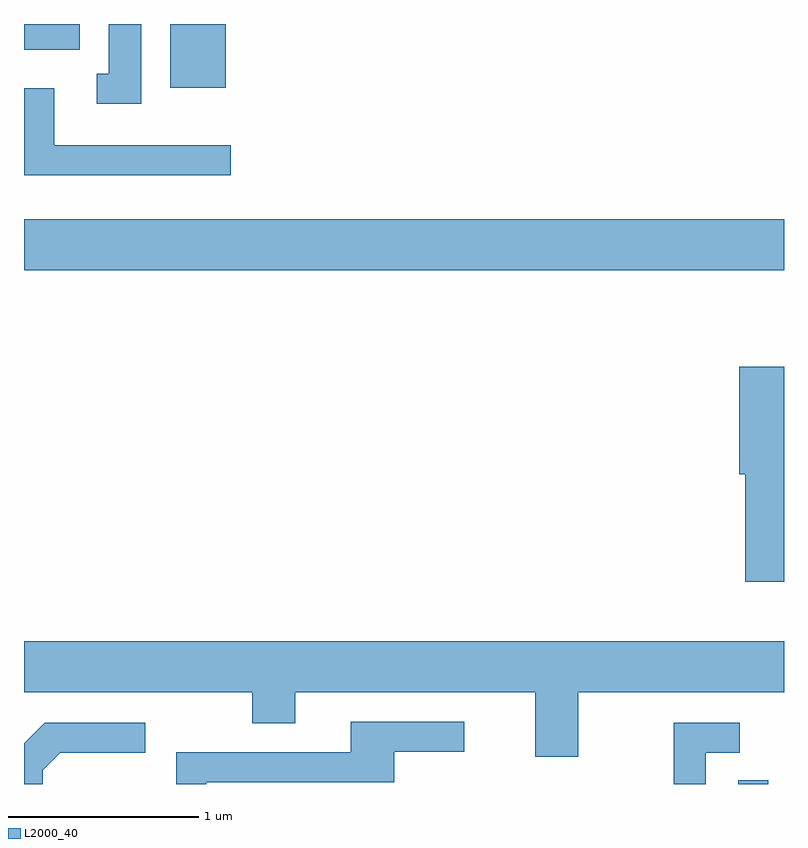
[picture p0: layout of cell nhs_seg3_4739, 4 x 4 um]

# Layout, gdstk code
import gdstk
lib = gdstk.Library(unit=1e-6, precision=1e-09)
def R(c, l, rs):  # rectangles x0, y0, x1, y1
    for r in rs: c.add(gdstk.rectangle(r[:2], r[2:], *l))
def P(c, l, *ps):  # polygons
    for p in ps: c.add(gdstk.Polygon(p, *l))
L2000_40 = (2000, 40)

nhs_seg3_4739 = lib.new_cell('nhs_seg3_4739')
R(nhs_seg3_4739, L2000_40, [(327.371,1209.892,327.529,1209.913), (323.611,1212.596,327.611,1212.864), (324.381,1213.556,324.674,1213.892), (323.611,1213.756,323.904,1213.892)])
P(nhs_seg3_4739, L2000_40, [(324.229,1213.892),(324.056,1213.892),(324.056,1213.629),(323.993,1213.629),(323.993,1213.471),(324.229,1213.471)],
  [(324.698,1213.254),(323.769,1213.254),(323.769,1213.554),(323.611,1213.554),(323.611,1213.096),(324.698,1213.096)],
  [(327.611,1212.089),(327.376,1212.089),(327.376,1211.521),(327.406,1211.521),(327.406,1210.956),(327.611,1210.956)],
  [(326.529,1210.376),(327.611,1210.376),(327.611,1210.644),(323.611,1210.644),(323.611,1210.376),(324.811,1210.376),(324.811,1210.211),(325.039,1210.211),(325.039,1210.376),(326.301,1210.376),(326.301,1210.036),(326.529,1210.036)],
  [(324.569,1209.901),(325.559,1209.901),(325.559,1210.061),(325.928,1210.061),(325.928,1210.219),(325.331,1210.219),(325.331,1210.059),(324.411,1210.059),(324.411,1209.892),(324.569,1209.892)],
  [(327.199,1210.056),(327.378,1210.056),(327.378,1210.214),(327.031,1210.214),(327.031,1209.892),(327.199,1209.892)],
  [(323.709,1209.964),(323.802,1210.056),(324.248,1210.056),(324.248,1210.214),(323.719,1210.214),(323.611,1210.107),(323.611,1209.892),(323.709,1209.892)])

lib.write_gds('nhs_seg3_4739.gds')
